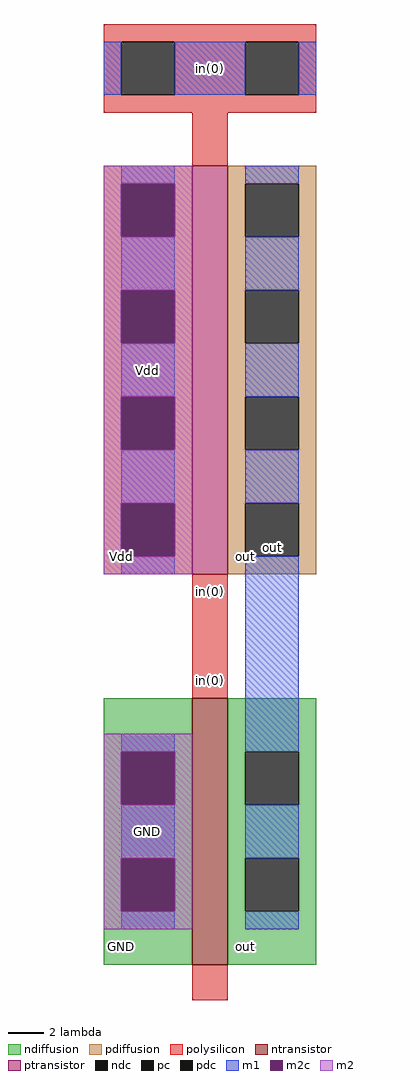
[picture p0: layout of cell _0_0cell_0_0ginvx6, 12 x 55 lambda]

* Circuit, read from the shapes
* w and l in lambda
.subckt _0_0cell_0_0ginvx6 GND Vdd in(0) out
M1 out in(0) GND VSUBS nfet w=15 l=2
M2 out in(0) Vdd NWELL pfet w=23 l=2
.ends

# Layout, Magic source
magic
tech sky130l
<< ndiffusion >>
rect 8 23 13 26
rect 8 20 9 23
rect 12 20 13 23
rect 8 17 13 20
rect 8 14 9 17
rect 12 14 13 17
rect 8 11 13 14
rect 15 23 20 26
rect 15 20 16 23
rect 19 20 20 23
rect 15 17 20 20
rect 15 14 16 17
rect 19 14 20 17
rect 15 11 20 14
<< ndc >>
rect 9 20 12 23
rect 9 14 12 17
rect 16 20 19 23
rect 16 14 19 17
<< ntransistor >>
rect 13 11 15 26
<< pdiffusion >>
rect 8 55 13 56
rect 8 52 9 55
rect 12 52 13 55
rect 8 49 13 52
rect 8 46 9 49
rect 12 46 13 49
rect 8 43 13 46
rect 8 40 9 43
rect 12 40 13 43
rect 8 37 13 40
rect 8 34 9 37
rect 12 34 13 37
rect 8 33 13 34
rect 15 55 20 56
rect 15 52 16 55
rect 19 52 20 55
rect 15 49 20 52
rect 15 46 16 49
rect 19 46 20 49
rect 15 43 20 46
rect 15 40 16 43
rect 19 40 20 43
rect 15 37 20 40
rect 15 34 16 37
rect 19 34 20 37
rect 15 33 20 34
<< pdc >>
rect 9 52 12 55
rect 9 46 12 49
rect 9 40 12 43
rect 9 34 12 37
rect 16 52 19 55
rect 16 46 19 49
rect 16 40 19 43
rect 16 34 19 37
<< ptransistor >>
rect 13 33 15 56
<< polysilicon >>
rect 8 63 20 64
rect 8 60 9 63
rect 12 60 16 63
rect 19 60 20 63
rect 8 59 20 60
rect 13 56 15 59
rect 13 26 15 33
rect 13 9 15 11
<< pc >>
rect 9 60 12 63
rect 16 60 19 63
<< m1 >>
rect 8 60 9 63
rect 12 60 16 63
rect 19 60 20 63
rect 9 55 12 56
rect 9 49 12 52
rect 9 43 12 46
rect 9 37 12 40
rect 9 33 12 34
rect 16 55 19 56
rect 16 49 19 52
rect 16 43 19 46
rect 16 37 19 40
rect 9 23 12 24
rect 9 17 12 20
rect 9 13 12 14
rect 16 23 19 34
rect 16 17 19 20
rect 16 13 19 14
<< m2c >>
rect 9 52 12 55
rect 9 46 12 49
rect 9 40 12 43
rect 9 34 12 37
rect 9 20 12 23
rect 9 14 12 17
<< m2 >>
rect 8 55 13 56
rect 8 52 9 55
rect 12 52 13 55
rect 8 49 13 52
rect 8 46 9 49
rect 12 46 13 49
rect 8 43 13 46
rect 8 40 9 43
rect 12 40 13 43
rect 8 37 13 40
rect 8 34 9 37
rect 12 34 13 37
rect 8 33 13 34
rect 8 23 13 24
rect 8 20 9 23
rect 12 20 13 23
rect 8 17 13 20
rect 8 14 9 17
rect 12 14 13 17
rect 8 13 13 14
<< labels >>
rlabel ndiffusion 16 12 16 12 3 out
rlabel polysilicon 14 27 14 27 3 in(0)
rlabel ndiffusion 9 12 9 12 3 GND
rlabel pdiffusion 16 34 16 34 3 out
rlabel polysilicon 14 32 14 32 3 in(0)
rlabel pdiffusion 9 34 9 34 3 Vdd
flabel m2 8 33 13 56 0 FreeSans 11 0 0 0 Vdd
flabel m2 8 13 13 24 0 FreeSans 11 0 0 0 GND
flabel m1 8 60 20 63 0 FreeSans 11 0 0 0 in(0)
flabel m1 16 13 19 56 0 FreeSans 11 0 0 0 out
<< end >>
